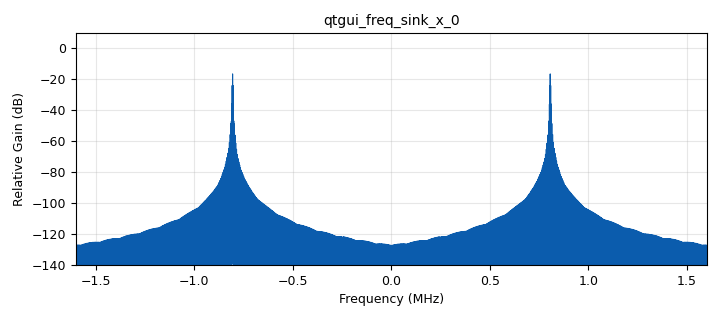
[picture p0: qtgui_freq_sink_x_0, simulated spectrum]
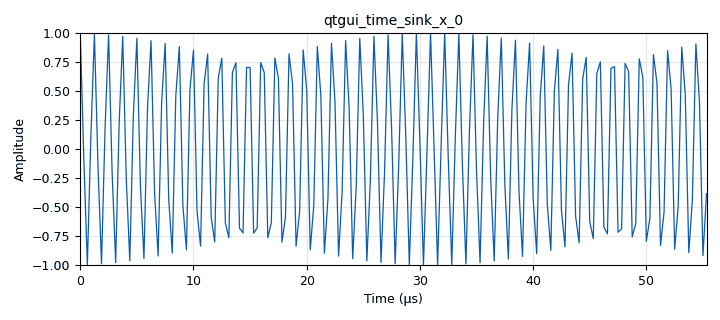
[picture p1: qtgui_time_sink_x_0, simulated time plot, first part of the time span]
options:
  parameters:
    author: luso
    generate_options: qt_gui
    id: modfm
    output_language: python
    title: Not titled yet
  states: {}

blocks:
- name: amplitude
  id: variable_qtgui_entry
  parameters:
    type: real
    value: '0.5'
  states: {}
- name: f_c
  id: variable
  parameters:
    value: '100000'
  states: {}
- name: freq
  id: variable
  parameters:
    value: 1000*2
  states: {}
- name: samp_rate
  id: variable
  parameters:
    value: '3200000'
  states: {}
- name: analog_sig_source_x_0
  id: analog_sig_source_x
  parameters:
    amp: amplitude
    freq: freq
    offset: '0'
    phase: '0'
    samp_rate: samp_rate
    type: float
    waveform: analog.GR_SQR_WAVE
  states: {}
- name: blocks_add_const_vxx_0
  id: blocks_add_const_vxx
  parameters:
    const: 2*c.pi*f_c
    type: float
  states: {}
- name: blocks_head_0
  id: blocks_head
  parameters:
    num_items: samp_rate
    type: float
  states: {}
- name: blocks_throttle_0
  id: blocks_throttle
  parameters:
    samples_per_second: samp_rate
    type: float
  states: {state: disabled}
- name: blocks_vco_f_0
  id: blocks_vco_f
  parameters:
    amplitude: '1'
    samp_rate: samp_rate
    sensitivity: 2*c.pi*5*1e3
  states: {}
- name: c
  id: epy_module
  parameters:
    source_code: "# this module will be imported in the into your flowgraph\r\n\r\nimport numpy as np\r\n\r\npi = np.pi\r\n"
  states: {}
- name: qtgui_freq_sink_x_0
  id: qtgui_freq_sink_x
  parameters:
    bw: samp_rate
    fc: '0'
    fftsize: '32768'
    type: float
  states: {}
- name: qtgui_time_sink_x_0
  id: qtgui_time_sink_x
  parameters:
    size: round(samp_rate/freq)
    srate: samp_rate
    type: float
  states: {}

connections:
- [analog_sig_source_x_0, '0', blocks_add_const_vxx_0, '0']
- [blocks_add_const_vxx_0, '0', blocks_vco_f_0, '0']
- [blocks_head_0, '0', qtgui_freq_sink_x_0, '0']
- [blocks_head_0, '0', qtgui_time_sink_x_0, '0']
- [blocks_throttle_0, '0', blocks_head_0, '0']
- [blocks_throttle_0, '0', qtgui_freq_sink_x_0, '0']
- [blocks_throttle_0, '0', qtgui_time_sink_x_0, '0']
- [blocks_vco_f_0, '0', blocks_head_0, '0']
- [blocks_vco_f_0, '0', blocks_throttle_0, '0']

metadata:
  file_format: 1
  grc_version: 3.10.10.0
